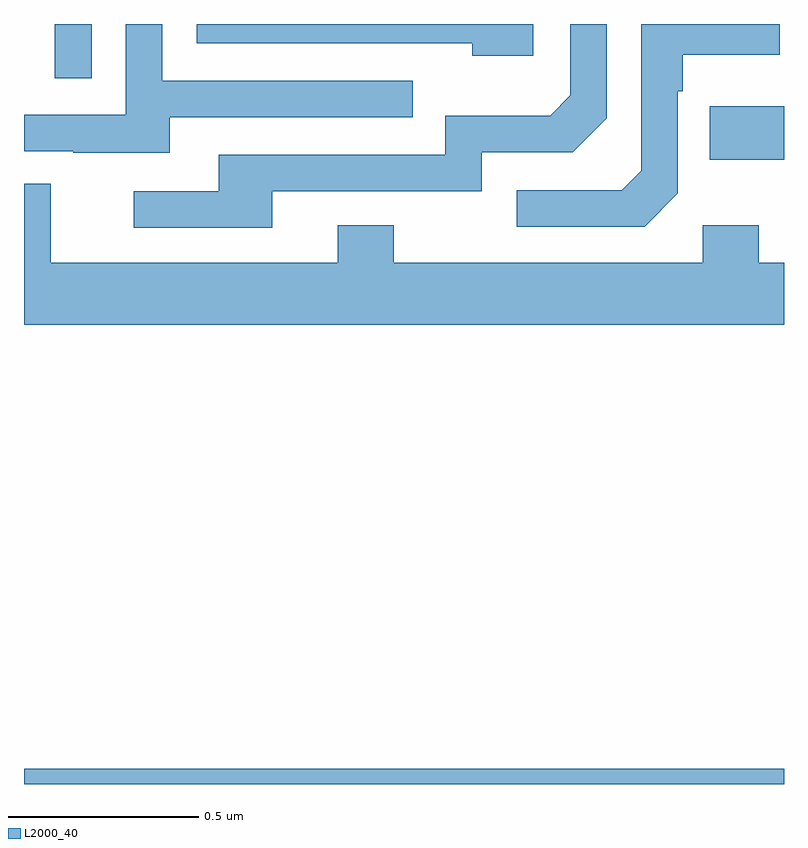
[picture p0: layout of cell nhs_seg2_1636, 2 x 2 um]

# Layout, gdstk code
import gdstk
lib = gdstk.Library(unit=1e-6, precision=1e-09)
def R(c, l, rs):  # rectangles x0, y0, x1, y1
    for r in rs: c.add(gdstk.rectangle(r[:2], r[2:], *l))
def P(c, l, *ps):  # polygons
    for p in ps: c.add(gdstk.Polygon(p, *l))
L2000_40 = (2000, 40)

nhs_seg2_1636 = lib.new_cell('nhs_seg2_1636')
R(nhs_seg2_1636, L2000_40, [(131,607.8,133,607.84), (132.805,609.443,133,609.583), (131.081,609.657,131.178,609.8)])
P(nhs_seg2_1636, L2000_40, [(131.653,609.36),(132.204,609.36),(132.204,609.462),(132.444,609.462),(132.534,609.552),(132.534,609.8),(132.438,609.8),(132.438,609.612),(132.385,609.559),(132.108,609.559),(132.108,609.456),(131.513,609.456),(131.513,609.36),(131.289,609.36),(131.289,609.264),(131.653,609.264)],
  [(131.383,609.555),(132.023,609.555),(132.023,609.651),(131.364,609.651),(131.364,609.8),(131.268,609.8),(131.268,609.561),(131,609.561),(131,609.465),(131.129,609.465),(131.129,609.461),(131.383,609.461)],
  [(132.72,609.354),(132.72,609.623),(132.733,609.623),(132.733,609.719),(132.989,609.719),(132.989,609.8),(132.624,609.8),(132.624,609.414),(132.573,609.363),(132.297,609.363),(132.297,609.267),(132.633,609.267)],
  [(132.34,609.8),(131.454,609.8),(131.454,609.75),(132.179,609.75),(132.179,609.716),(132.34,609.716)],
  [(133,609.172),(132.933,609.172),(132.933,609.271),(132.786,609.271),(132.786,609.172),(131.973,609.172),(131.973,609.271),(131.825,609.271),(131.825,609.172),(131.071,609.172),(131.071,609.38),(131,609.38),(131,609.008),(133,609.008)])

lib.write_gds('nhs_seg2_1636.gds')
